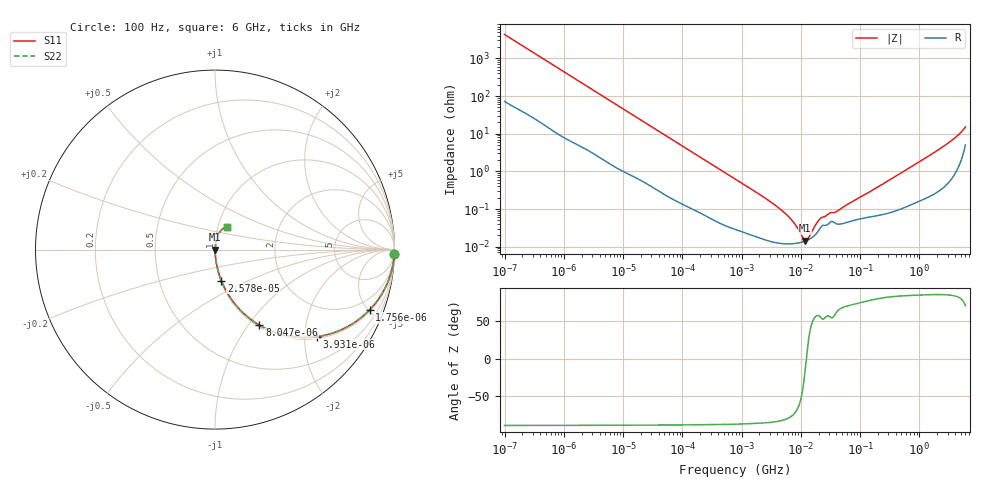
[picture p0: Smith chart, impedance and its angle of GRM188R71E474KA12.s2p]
!Murata Part Number: GRM188R71E474KA12
!These Parameters are Measured in Series Mode Connection
!Data Generated on Mar 30, 2021
!  o--ll--o
!Port1  Port2
!  o------o
!Operation Temp=25[degC], DC Bias Voltage=0[V]
!Freq. Start=100[Hz] Stop=6[GHz] 401[Steps]
# Hz S RI R 50
!Freq.(Hz) S11(Real) S11(Imag) S21(Real) S21(Imag) S12(Real) S12(Imag) S22(Real) S22(Imag)
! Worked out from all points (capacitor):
!   401 points, 100 Hz to 6 GHz, reference 50 ohm
!   read as one part in series: C = 366 nF near 109 Hz
!   lowest |Z| = 14.5 mohm at 11.89 MHz (marker M1)
!   series resonance near 12.38 MHz, so ESL is about 450 pH
!   S11 on the Smith chart (normalised r, x): 100 Hz: 2, -87; 1.756 kHz: 1.10, -5.09; 3.931 kHz: 1.05, -2.30; 8.047 kHz: 1.02, -1.13; 25.78 kHz: 1.01, -0.36; 6 GHz: 1.10, +0.28
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100  0.9991 -0.0231  0.000917 0.0231  0.000917 0.0231  0.9991 -0.0231
501  0.9853 -0.1117  0.0147 0.1117  0.0147 0.1117  0.9853 -0.1117
1756  0.8615 -0.3359  0.1385 0.3359  0.1385 0.3359  0.8615 -0.3359
2008  0.8276 -0.3679  0.1724 0.3679  0.1724 0.3679  0.8276 -0.3679
3931  0.5679 -0.4851  0.4321 0.4851  0.4321 0.4851  0.5679 -0.4851
8047  0.2475 -0.4211  0.7525 0.4211  0.7525 0.4211  0.2475 -0.4211
13772  0.1055 -0.2958  0.8945 0.2958  0.8945 0.2958  0.1055 -0.2958
25777  0.0355 -0.1728  0.9645 0.1728  0.9645 0.1728  0.0355 -0.1728
40335  0.0161 -0.1136  0.9839 0.1136  0.9839 0.1136  0.0161 -0.1136
129199  0.00246 -0.0367  0.9975 0.0367  0.9975 0.0367  0.00246 -0.0367
774597  0.000328 -0.00632  0.9997 0.00632  0.9997 0.00632  0.000328 -0.00632
5079039  0.00012 -0.000837  0.9999 0.000837  0.9999 0.000837  0.00012 -0.000837
7599586  0.00012 -0.000421  0.9999 0.000421  0.9999 0.000421  0.00012 -0.000421
1.189169e7  0.000141 -3.33e-05  0.9999 3.33e-05  0.9999 3.33e-05  0.000141 -3.33e-05
1.300572e7  0.000149 4.18e-05  0.9999 -4.18e-05  0.9999 -4.18e-05  0.000149 4.18e-05
1.555665e7  0.000176 0.000196  0.9998 -0.000196  0.9998 -0.000196  0.000176 0.000196
1.946e7  0.000252 0.000398  0.9997 -0.000398  0.9997 -0.000398  0.000252 0.000398
2.225763e7  0.000345 0.000478  0.9997 -0.000478  0.9997 -0.000478  0.000345 0.000478
3.983537e7  0.000406 0.000748  0.9996 -0.000748  0.9996 -0.000748  0.000406 0.000748
3.124326e8  0.000821 0.00581  0.9992 -0.00581  0.9992 -0.00581  0.000821 0.00581
2.450438e9  0.0054 0.0436  0.9946 -0.0436  0.9946 -0.0436  0.0054 0.0436
6e9  0.0649 0.1268  0.9351 -0.1268  0.9351 -0.1268  0.0649 0.1268
